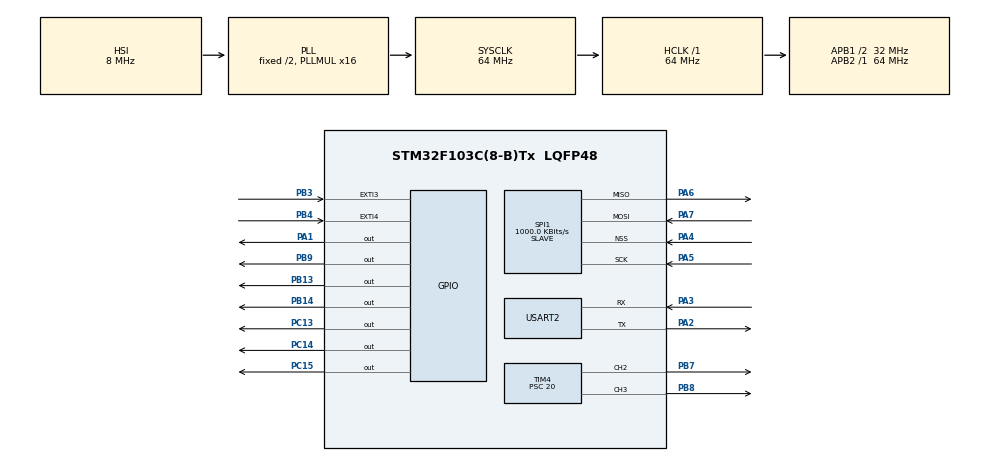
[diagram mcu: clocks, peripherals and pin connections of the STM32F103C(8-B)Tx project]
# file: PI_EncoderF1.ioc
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Dma.Request0=SPI1_RX
Dma.SPI1_RX.0.Direction=DMA_PERIPH_TO_MEMORY
Dma.SPI1_RX.0.Instance=DMA1_Channel2
Dma.SPI1_RX.0.MemDataAlignment=DMA_MDATAALIGN_BYTE
Dma.SPI1_RX.0.MemInc=DMA_MINC_ENABLE
Dma.SPI1_RX.0.Mode=DMA_CIRCULAR
Dma.SPI1_RX.0.PeriphDataAlignment=DMA_PDATAALIGN_BYTE
Dma.SPI1_RX.0.PeriphInc=DMA_PINC_DISABLE
Dma.SPI1_RX.0.Priority=DMA_PRIORITY_LOW
Mcu.Family=STM32F1
Mcu.Name=STM32F103C(8-B)Tx
Mcu.Package=LQFP48
NVIC.DMA1_Channel2_IRQn=true\:0\:0\:false\:false\:true\:false
NVIC.EXTI3_IRQn=true\:0\:0\:false\:false\:true\:true
NVIC.EXTI4_IRQn=true\:0\:0\:false\:false\:true\:true
NVIC.PriorityGroup=NVIC_PRIORITYGROUP_4
NVIC.SPI1_IRQn=true\:0\:0\:false\:false\:true\:true
NVIC.TIM2_IRQn=true\:0\:0\:false\:false\:true\:true
NVIC.TIM3_IRQn=true\:0\:0\:false\:false\:true\:true
PA1.Signal=GPIO_Output
PA13.Mode=Serial_Wire
PA13.Signal=SYS_JTMS-SWDIO
PA14.Mode=Serial_Wire
PA14.Signal=SYS_JTCK-SWCLK
PA2.Mode=Asynchronous
PA2.Signal=USART2_TX
PA3.Mode=Asynchronous
PA3.Signal=USART2_RX
PA4.Mode=NSS_Signal_Hard_Input
PA4.Signal=SPI1_NSS
PA5.Mode=Full_Duplex_Slave
PA5.Signal=SPI1_SCK
PA6.Mode=Full_Duplex_Slave
PA6.Signal=SPI1_MISO
PA7.Mode=Full_Duplex_Slave
PA7.Signal=SPI1_MOSI
PB13.Signal=GPIO_Output
PB14.Signal=GPIO_Output
PB3.Signal=GPXTI3
PB4.Signal=GPXTI4
PB7.GPIO_Speed=GPIO_SPEED_FREQ_HIGH
PB7.Signal=S_TIM4_CH2
PB8.GPIO_Speed=GPIO_SPEED_FREQ_HIGH
PB8.Signal=S_TIM4_CH3
PB9.Signal=GPIO_Output
PC13-TAMPER-RTC.Signal=GPIO_Output
PC14-OSC32_IN.Signal=GPIO_Output
PC15-OSC32_OUT.Signal=GPIO_Output
ProjectManager.HeapSize=0x200
ProjectManager.StackSize=0x400
ProjectManager.TargetToolchain=MDK-ARM V5
RCC.AHBFreq_Value=64000000
RCC.APB1CLKDivider=RCC_HCLK_DIV2
RCC.APB1Freq_Value=32000000
RCC.APB1TimFreq_Value=64000000
RCC.APB2Freq_Value=64000000
RCC.APB2TimFreq_Value=64000000
RCC.HCLKFreq_Value=64000000
RCC.PLLMUL=RCC_PLL_MUL16
RCC.SYSCLKFreq_VALUE=64000000
RCC.SYSCLKSource=RCC_SYSCLKSOURCE_PLLCLK
RCC.USBFreq_Value=64000000
SH.S_TIM4_CH2.0=TIM4_CH2,PWM Generation2 CH2
SH.S_TIM4_CH3.0=TIM4_CH3,PWM Generation3 CH3
SPI1.BaudRatePrescaler=SPI_BAUDRATEPRESCALER_64
SPI1.CalculateBaudRate=1000.0 KBits/s
SPI1.Direction=SPI_DIRECTION_2LINES
SPI1.Mode=SPI_MODE_SLAVE
SPI1.VirtualNSS=VM_NSSHARD
SPI1.VirtualType=VM_SLAVE
TIM2.Period=999
TIM2.Prescaler=6399
TIM3.Period=999
TIM3.Prescaler=6399
TIM4.Channel-PWM\ Generation2\ CH2=TIM_CHANNEL_2
TIM4.Channel-PWM\ Generation3\ CH3=TIM_CHANNEL_3
TIM4.Period=399
TIM4.Prescaler=20
USART2.VirtualMode=VM_ASYNC
VP_TIM2_VS_ClockSourceINT.Mode=Internal
VP_TIM3_VS_ClockSourceINT.Mode=Internal
VP_TIM4_VS_ClockSourceINT.Mode=Internal
board=custom

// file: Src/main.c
/* USER CODE BEGIN Header */
/**
  ******************************************************************************
  * @file           : main.c
  * @brief          : Main program body
  ******************************************************************************
  ** This notice applies to any and all portions of this file
  * that are not between comment pairs USER CODE BEGIN and
  * USER CODE END. Other portions of this file, whether
  * inserted by the user or by software development tools
  * are owned by their respective copyright owners.
  *
  * COPYRIGHT(c) 2019 STMicroelectronics
  *
  * Redistribution and use in source and binary forms, with or without modification,
  * are permitted provided that the following conditions are met:
  *   1. Redistributions of source code must retain the above copyright notice,
  *      this list of conditions and the following disclaimer.
  *   2. Redistributions in binary form must reproduce the above copyright notice,
  *      this list of conditions and the following disclaimer in the documentation
  *      and/or other materials provided with the distribution.
  *   3. Neither the name of STMicroelectronics nor the names of its contributors
  *      may be used to endorse or promote products derived from this software
  *      without specific prior written permission.
  *
  * THIS SOFTWARE IS PROVIDED BY THE COPYRIGHT HOLDERS AND CONTRIBUTORS "AS IS"
  * AND ANY EXPRESS OR IMPLIED WARRANTIES, INCLUDING, BUT NOT LIMITED TO, THE
  * IMPLIED WARRANTIES OF MERCHANTABILITY AND FITNESS FOR A PARTICULAR PURPOSE ARE
  * DISCLAIMED. IN NO EVENT SHALL THE COPYRIGHT HOLDER OR CONTRIBUTORS BE LIABLE
  * FOR ANY DIRECT, INDIRECT, INCIDENTAL, SPECIAL, EXEMPLARY, OR CONSEQUENTIAL
  * DAMAGES (INCLUDING, BUT NOT LIMITED TO, PROCUREMENT OF SUBSTITUTE GOODS OR
  * SERVICES; LOSS OF USE, DATA, OR PROFITS; OR BUSINESS INTERRUPTION) HOWEVER
  * CAUSED AND ON ANY THEORY OF LIABILITY, WHETHER IN CONTRACT, STRICT LIABILITY,
  * OR TORT (INCLUDING NEGLIGENCE OR OTHERWISE) ARISING IN ANY WAY OUT OF THE USE
  * OF THIS SOFTWARE, EVEN IF ADVISED OF THE POSSIBILITY OF SUCH DAMAGE.
  *
  ******************************************************************************
  */
/* USER CODE END Header */

#include "main.h"

/* USER CODE BEGIN Includes */
#include <math.h>
#include <stdbool.h>
/* USER CODE END Includes */

SPI_HandleTypeDef hspi1;
DMA_HandleTypeDef hdma_spi1_rx;

TIM_HandleTypeDef htim2;
TIM_HandleTypeDef htim3;
TIM_HandleTypeDef htim4;

UART_HandleTypeDef huart2;

/* USER CODE BEGIN PV */
static volatile bool flagTimeout=0;
uint16_t TIM_Period = 399; //This values may need to be recalculated = (timer_tick_freq/PWM_freq)-1, with timer_tick_freq = timer_default_freq / (pre_scaler+1)
uint32_t Pulse_LeftMotor=0, Pulse_RightMotor=0; 	//Variable to count Encoder Left n Right
uint32_t NotReset_PulseLeft =0, NotReset_PulseRight=0;
float Speed_LeftMotor=0, Speed_RightMotor=0; 	//Variable from 0-100 to control duty cycle
float Ke=3.5,Kde=0.5,Kout=50;													//Parameter
float CurrentX=0, CurrentY=0, CurrentPhi=0, PrevPhi=0;//Current position of the vehicle
float gocLai;
float PrevError=0, CurrErr=0;
float dt=0.1f; 																		//Control Period
float KhoangCach2Banh = 0.6f; //Khoang cach giua 2 banh xe
uint8_t tim2Indicator=0; //Check if timer2 works
float distance;

//SPI
uint8_t receive_data_1[8];
uint8_t send_data[8];
uint8_t tim3Indicator = 0;

uint8_t Tx[10]; //UART Transmit buffer
float SendX,SendY;

float EuclidThresh=0.3f;

//Variable for going to different Destination
//float DestXList[]={	1000.0f,	10.0f	,0.0f	,0.0f,	10.0f	,10.0f	,0.0f};
//float DestYList[]={	0.0f	,	4.0f	,4.0f	,8.0f,	8.0f	,12.0f	,12.0f};
//float DestXList[]={	20.0f,	20.0f	,0.0f	,0.0f,	18.0f	,18.0f	,0.0f};
//float DestYList[]={	0.0f	,	4.0f	,4.0f	,12.0f,	12.0f	,16.0f	,16.0f};
float DestXList[]={	20.0f,	20.0f	,0.0f	};
float DestYList[]={	0.0f	,	4.0f	,4.0f	};
int countDestList=0;
float DestX,DestY;

/* USER CODE END PV */

void SystemClock_Config(void);
static void MX_GPIO_Init(void);
static void MX_DMA_Init(void);
static void MX_USART2_UART_Init(void);
static void MX_TIM2_Init(void);
static void MX_TIM4_Init(void);
static void MX_SPI1_Init(void);
static void MX_TIM3_Init(void);
/* USER CODE BEGIN PFP */
//Ham truyen SPI
void Send_2Float(){
	unsigned char *chptr;

	chptr=(unsigned char *)&gocLai;
	send_data[0]=(*chptr++); 	//LSB
	send_data[1]=(*chptr++);
	send_data[2]=(*chptr++);
	send_data[3]=(*chptr);		//MSB

	chptr=(unsigned char *)&CurrentPhi;
	send_data[4]=(*chptr++);	//LSB
	send_data[5]=(*chptr++);
	send_data[6]=(*chptr++);
	send_data[7]=(*chptr);		//MSB

	HAL_SPI_Transmit_IT(&hspi1,&send_data[0],8);
}
//Ham truyen UART
void SendPos(){
	/*Send total 10Bytes include 2 end bytes 0x0D & 0x0A
	Send CurrentX,CurrentY in bytes
	*/
	unsigned char *chptr;
	SendX = (float)CurrentX;
	chptr = (unsigned char *)&SendX;

	Tx[0]=(*chptr++);
	Tx[1]=(*chptr++);
	Tx[2]=(*chptr++);
	Tx[3]=(*chptr);

	SendY =(float) CurrentY;
	chptr = (unsigned char *)&SendY;

	Tx[4]=(*chptr++);
	Tx[5]=(*chptr++);
	Tx[6]=(*chptr++);
	Tx[7]=(*chptr);

	Tx[8]=0x0D;
	Tx[9]=0x0A;

	HAL_UART_Transmit(&huart2,Tx,10,8000);
}
//Ham tinh toan
float EuclidDistance(float x1,float y1,float x2, float y2){
	return sqrt((x1-x2)*(x1-x2)+(y1-y2)*(y1-y2));
}
//Ham xuat % dong co
void SetPWM_withDutyCycle_withStop(TIM_HandleTypeDef *htim, uint32_t Channel, int dutyCycle, int STOP_CODE){

	dutyCycle=(dutyCycle > 100 ) ? 100 : dutyCycle;
	dutyCycle=(dutyCycle < 0)? 0: dutyCycle;

	/*This function allow to Write PWM in duty cycle with timer and channel parameters*/
	int32_t pulse_length = TIM_Period*dutyCycle/100;
	__HAL_TIM_SET_COMPARE(htim, Channel, pulse_length*(1-STOP_CODE));

};

void SetPWM_withDutyCycle(TIM_HandleTypeDef *htim, uint32_t Channel, int dutyCycle){

	dutyCycle=(dutyCycle > 100 ) ? 100 : dutyCycle;
	dutyCycle=(dutyCycle < 0)? 0: dutyCycle;

	/*This function allow to Write PWM in duty cycle with timer and channel parameters*/
	int32_t pulse_length = TIM_Period*dutyCycle/100;
	__HAL_TIM_SET_COMPARE(htim, Channel, pulse_length);
};

//Fuzzy functions
double mftrap(double x,double L,double C1,double C2,double R){
	double y;
	if (x<L)
		y=0;
	else if (x<C1)
		y=(x-L)/(C1-L);
	else if (x<C2)
		y=1;
	else if (x<R)
		y=(R-x)/(R-C2);
	else
		y=0;
	return y;}
int maxArray(double a[],int n) {
  int i, max;

  max = a[0];

  for (i = 1; i <n; i++) {
    if (a[i] > max) {
       max = a[i];
       }

  }

  return max;
}
double max(double num1,double num2){
	return (num1 > num2 ) ? num1 : num2;
}
double Defuzzication_R(double e, double de){

	//Return e and de in range [-1 1]
	e=(e>1)?1:e;
	e=(e<-1)?-1:e;
	de=(de>1)?1:de;
	de=(de<-1)?-1:de;

	double e_NE,e_ZE,e_PO,de_NE,de_ZE,de_PO;

	e_NE=mftrap(e,-1.1,-1,-0.1,0);
	e_ZE=mftrap(e,-0.1,0,0,0.1);

	e_PO=mftrap(e,0,0.1,1,1.1);

	de_NE=mftrap(de,-1.1,-1,-1,0);
	de_ZE=mftrap(de,-1,0,0,1);
	de_PO=mftrap(de,0,1,1,1.1);

	double	dR_NB=-1;
	double	dR_NS=-0.4;
	double	dR_ZE=0;
	double	dR_PS=0.8;
	double	dR_PB=1;

	double	beta1=e_NE*de_NE;   //R=NB
	double	beta2=e_NE*de_ZE;   //R=NS
	double	beta3=e_NE*de_PO;   //R=ZE
	double	beta4=e_ZE*de_NE;   //R=NS
	double	beta5=e_ZE*de_ZE;   //R=ZE ->PS
	double	beta6=e_ZE*de_PO;   //R=PS
	double	beta7=e_PO*de_NE;   //R=ZE
	double	beta8=e_PO*de_ZE;   //R=PS
	double	beta9=e_PO*de_PO;   //R=PB
	//Elements of each array
  double NSArray[]={beta2,beta4};
	double ZEArray[]={beta3,beta7};
	double PSArray[]={beta6,beta8,beta5};

	double beta_NB=beta1;
	double beta_NS=max(beta2,beta4);
	double beta_ZE=max(beta3,beta7);
	double beta_PS=max(beta6,max(beta8,beta5));
	double beta_PB=beta9;

	double sumBeta=beta_NB+beta_NS+beta_ZE+beta_PS+beta_PB;
	double dR=(dR_NB*beta_NB+dR_NS*beta_NS+dR_ZE*beta_ZE+dR_PS*beta_PS+dR_PB*beta_PB)/sumBeta;

	return dR;
}
double Defuzzication_L(double e, double de){
		e=(e>1)?1:e;
	e=(e<-1)?-1:e;
	de=(de>1)?1:de;
	de=(de<-1)?-1:de;

	double e_NE,e_ZE,e_PO,de_NE,de_ZE,de_PO;

	e_NE=mftrap(e,-1.1,-1,-0.1,0);
	e_ZE=mftrap(e,-0.1,0,0,0.1);

	e_PO=mftrap(e,0,0.1,1,1.1);

	de_NE=mftrap(de,-1.1,-1,-1,0);
	de_ZE=mftrap(de,-1,0,0,1);
	de_PO=mftrap(de,0,1,1,1.1);

	double	dR_NB=-1;
	double	dR_NS=-0.4;
	double	dR_ZE=0;
	double	dR_PS=0.8;
	double	dR_PB=1;

	double	beta1=e_NE*de_NE;   //R=PB
	double	beta2=e_NE*de_ZE;   //R=PS
	double	beta3=e_NE*de_PO;   //R=ZE
	double	beta4=e_ZE*de_NE;   //R=PS
	double	beta5=e_ZE*de_ZE;   //R=ZE =>PS
	double	beta6=e_ZE*de_PO;   //R=NS
	double	beta7=e_PO*de_NE;   //R=ZE
	double	beta8=e_PO*de_ZE;   //R=NS
	double	beta9=e_PO*de_PO;   //R=NB
	//Elements of each array
  double NSArray[]={beta6,beta8};
	double ZEArray[]={beta3,beta7};
	double PSArray[]={beta2,beta4,beta5};

	double beta_NB=beta9;
	double beta_NS=max(beta6,beta8);
	double beta_ZE=max(beta3,beta7);
	double beta_PS=max(beta2,max(beta5,beta4));
	double beta_PB=beta1;

	double sumBeta=beta_NB+beta_NS+beta_ZE+beta_PS+beta_PB;
	double dL=(dR_NB*beta_NB+dR_NS*beta_NS+dR_ZE*beta_ZE+dR_PS*beta_PS+dR_PB*beta_PB)/sumBeta;

	return dL;
}
//Control Function
double GetNewGocLai(float KhoangNhinTruoc,float xDest,float yDest,float xCurr, float yCurr,float phiCurr){
	float l = KhoangNhinTruoc;
	float xg=0,yg=0; //forhead point

	//Case 1: xDest != xCurr, we calculate (xg,yg), which is the forehead point
	if(xDest!=xCurr){
		float m =(yDest-yCurr)/(xDest-xCurr);
		float c =(yCurr*xDest-yDest*xCurr)/(xDest-xCurr);

		float A= 1+m*m;
		float B= -2*xCurr+2*m*c-2*m*yCurr;
		float C= xCurr*xCurr+(c-yCurr)*(c-yCurr)-l*l;

		if(xDest < xCurr){
			xg = (-B-sqrt(B*B-4*A*C))/(2*A);
			yg = m*xg +c;
		}else{
			xg = (-B+sqrt(B*B-4*A*C))/(2*A);
			yg = m*xg +c;
		}
	}

	//Case 2: xDest = xCurr, we calculate (xg,yg), which is the forehead point
	if(xDest == xCurr){
		if(yDest < yCurr){
			xg = xDest;
			yg = yCurr-l;
		}else if(yDest > yCurr){
			xg = xDest;
			yg = yCurr+l;
		}
	}

	//Now we have (xg,yg), scale it into the vehicle coordinate
	float xG = xg - xCurr;
	float yG = yg - yCurr;

	float x = xG*sin(phiCurr)-yG*cos(phiCurr);
	float y = xG*cos(phiCurr)+yG*sin(phiCurr);

	//Now we have (x,y), finally let's calculate GocLai
	float alpha = atan(x/y);
	return phiCurr-alpha;
}
double GetError(float GocLai,float CurrentPhi){
	return GocLai-CurrentPhi;
}
double GetDerivativeError(float oldErr,float newErr){
	return (newErr-oldErr)/dt;
}

void Fuzzy_ControlMotor(float e, float de){
	float eFuzzy = Ke*e;
	float deFuzzy =Kde*de;

	double aRight = Defuzzication_R(Ke*eFuzzy,Kde*deFuzzy);
	double aLeft 	= Defuzzication_L(Ke*eFuzzy,Kde*deFuzzy);

	Speed_RightMotor+=Kout*aRight*dt;
	Speed_LeftMotor+=Kout*aLeft*dt;

	Speed_LeftMotor=(Speed_LeftMotor>100)?100:Speed_LeftMotor;
	Speed_LeftMotor=(Speed_LeftMotor<0)?0:Speed_LeftMotor;

	Speed_RightMotor=(Speed_RightMotor>100)?100:Speed_RightMotor;
	Speed_RightMotor=(Speed_RightMotor<0)?0:Speed_RightMotor;

	distance=EuclidDistance(CurrentX,CurrentY,DestX,DestY);

	//STOP CODE RUN-Decide wehther to move or not
	int STOPCODE=(distance>EuclidThresh)?0:1;
	SetPWM_withDutyCycle_withStop(&htim4,TIM_CHANNEL_2,(int)Speed_LeftMotor,STOPCODE); //TIM_CHANNEL_2 = PB7 = Left Motor
	SetPWM_withDutyCycle_withStop(&htim4,TIM_CHANNEL_3,(int)Speed_RightMotor,STOPCODE); //TIM_CHANNEL_3 = PB8 = Right Motor

	//WITHOUT STOP CODE
//	SetPWM_withDutyCycle(&htim4,TIM_CHANNEL_2,(int)Speed_LeftMotor); //TIM_CHANNEL_2 = PB7 = Left Motor
//	SetPWM_withDutyCycle(&htim4,TIM_CHANNEL_3,(int)Speed_RightMotor); //TIM_CHANNEL_3 = PB8 = Right Motor
}
float Encoder2Distance(int pulse){
	// 1 vong dong co = 350 xung
	// ban kinh truc dong co R = 7 mm
	float hesokinhnghiem=1.5;
	return (float)pulse*2*3.14f*7*hesokinhnghiem/(350*1000);
}
void CalculateNewPosition(float RightDistance, float LeftDistance){

	CurrentX+=(float)((RightDistance+LeftDistance)*cos(PrevPhi)/2);
	CurrentY+=(float)((RightDistance+LeftDistance)*sin(PrevPhi)/2);
	CurrentPhi+=(RightDistance-LeftDistance)/KhoangCach2Banh;

	//Reset Encoder
	Pulse_LeftMotor =0;
	Pulse_RightMotor=0;
}
void UpdateParams(float Error,float Phi){
	PrevError=Error;
	PrevPhi=Phi;
}

//Turn Around Control Functions
void SpinRight(){
	/*Function for right spin*/
	SetPWM_withDutyCycle(&htim4,TIM_CHANNEL_2,60);//TIM_CHANNEL_2 = PB7 = Left Motor
	SetPWM_withDutyCycle(&htim4,TIM_CHANNEL_3,30);//TIM_CHANNEL_3 = PB8 = Right Motor
}
void SpinLeft(){
	/*Function for left spin*/
	SetPWM_withDutyCycle(&htim4,TIM_CHANNEL_2,30);//TIM_CHANNEL_2 = PB7 = Left Motor
	SetPWM_withDutyCycle(&htim4,TIM_CHANNEL_3,60);//TIM_CHANNEL_3 = PB8 = Right Motor
}

void Fuzzy_TurnAround(float xDest,float yDest,float xCurr, float yCurr,float phiCurr,float AcceptAngle){
	/*Fuzzy control and turn around when angle became too big*/
	float xG = xDest - xCurr;
	float yG = yDest - yCurr;

	float x = xG*sin(phiCurr)-yG*cos(phiCurr);
	float y = xG*cos(phiCurr)+yG*sin(phiCurr);

	//Decide to spin or use Fuzzy Control
	if ((x>0)&&((y-tan(3.14/2-AcceptAngle))<0))
		SpinRight();
	else if ((x<0)&&((y+tan(3.14/2-AcceptAngle))<0))
		SpinLeft();
	else {
		//GetNewGocLai
		/*
		Params from DestX,DestY, CurrentX, Current Y, CurrentPhi
		return GocLai
		*/
		 gocLai=GetNewGocLai(0.6f, DestX,DestY,CurrentX,CurrentY,CurrentPhi);

		//Get current Error
		/*
		Params from GocLai and CurrentPhi
		Return Error
		*/
	  CurrErr = GetError(gocLai,CurrentPhi);

		//Get current Deriative Error
		/*
		Params from the new Error, and the PrevErr
		Return Derivative Error
		*/
		float dCurrErr = GetDerivativeError(PrevError,CurrErr);

		//Control Motors Fuzzy
		/*
		Params from the new Error and the new Derivative Error
		Control Motor Left n Right
		Reset Encoder Counters
		After this, Encoder will continued to be counted for the next dt(s) (in this case, dt = 0.1)
		*/
		Fuzzy_ControlMotor(CurrErr,dCurrErr);
	}
}

void PP_TurnAround(float KhoangNhinTruoc,float xDest,float yDest,float xCurr, float yCurr,float phiCurr,int vSumPP,float AcceptAngle){
	float l = KhoangNhinTruoc;
	float L=0.6; //Distance between 2 wheels
	float xg=0,yg=0; //forhead point

	//Case 1: xDest != xCurr, we calculate (xg,yg), which is the forehead point
	if(xDest!=xCurr){
		float m =(yDest-yCurr)/(xDest-xCurr);
		float c =(yCurr*xDest-yDest*xCurr)/(xDest-xCurr);

		float A= 1+m*m;
		float B= -2*xCurr+2*m*c-2*m*yCurr;
		float C= xCurr*xCurr+(c-yCurr)*(c-yCurr)-l*l;

		if(xDest < xCurr){
			xg = (-B-sqrt(B*B-4*A*C))/(2*A);
			yg = m*xg +c;
		}else{
			xg = (-B+sqrt(B*B-4*A*C))/(2*A);
			yg = m*xg +c;
		}
	}

	//Case 2: xDest = xCurr, we calculate (xg,yg), which is the forehead point
	if(xDest == xCurr){
		if(yDest < yCurr){
			xg = xDest;
			yg = yCurr-l;
		}else if(yDest > yCurr){
			xg = xDest;
			yg = yCurr+l;
		}
	}

	//Now we have (xg,yg), scale it into the vehicle coordinate
	float xG = xg - xCurr;
	float yG = yg - yCurr;

	float x = xG*sin(phiCurr)-yG*cos(phiCurr);
	float y = xG*cos(phiCurr)+yG*sin(phiCurr);

	//Decide to spin or use the PP Control
	if ((x>0)&&((y-tan(3.14/2-AcceptAngle))<0))
		SpinRight();
	else if ((x<0)&&((y+tan(3.14/2-AcceptAngle))<0))
		SpinLeft();
	else {/*Pure Pursuit Control*/
		/*From Theory, calculate vRight/vLeft ratio k*/
		float k=(l*l-L*x)/(l*l+L*x);

		/*Calculate 2 Wheel speed*/
		Speed_LeftMotor=vSumPP/(k+1);
		Speed_RightMotor=vSumPP-Speed_LeftMotor;

		/*Decide to move or not*/
		distance=EuclidDistance(CurrentX,CurrentY,DestX,DestY);

		int STOPCODE=(distance>EuclidThresh)?0:1;
		SetPWM_withDutyCycle_withStop(&htim4,TIM_CHANNEL_2,(int)Speed_LeftMotor,STOPCODE); //TIM_CHANNEL_2 = PB7 = Left Motor
		SetPWM_withDutyCycle_withStop(&htim4,TIM_CHANNEL_3,(int)Speed_RightMotor,STOPCODE); //TIM_CHANNEL_3 = PB8 = Right Motor
	}
}

/* USER CODE END PFP */

int main(void)
{

  /* MCU Configuration--------------------------------------------------------*/

  /* Reset of all peripherals, Initializes the Flash interface and the Systick. */
  HAL_Init();

  /* Configure the system clock */
  SystemClock_Config();

  /* Initialize all configured peripherals */
  MX_GPIO_Init();
  MX_DMA_Init();
  MX_USART2_UART_Init();
  MX_TIM2_Init();
  MX_TIM4_Init();
  MX_SPI1_Init();
  MX_TIM3_Init();
  /* USER CODE BEGIN 2 */

		//Start PWM
	HAL_TIM_PWM_Start(&htim4,TIM_CHANNEL_2);
	HAL_TIM_PWM_Start(&htim4,TIM_CHANNEL_3);

	//Set destination
	DestX=DestXList[0];
	DestY=DestYList[0];
	//Start Timer 2 3
  HAL_TIM_Base_Start_IT(&htim3);
	HAL_TIM_Base_Start_IT(&htim2);
	HAL_SPI_Receive_DMA(&hspi1,&receive_data_1[0],8);

	//Set GPIOC 13,14 to Vdd to Enable for the Right Driver,GPIOB 13,14 to Vdd to Enable for the Left Driver,GPIOB 9,GPIOC 15 and GPIOA 1 to GND
	HAL_GPIO_WritePin(GPIOC,GPIO_PIN_13,GPIO_PIN_SET);
	HAL_GPIO_WritePin(GPIOB,GPIO_PIN_13,GPIO_PIN_SET);
	HAL_GPIO_WritePin(GPIOB,GPIO_PIN_14,GPIO_PIN_SET);
	HAL_GPIO_WritePin(GPIOC,GPIO_PIN_14,GPIO_PIN_SET);
	HAL_GPIO_WritePin(GPIOB,GPIO_PIN_9,GPIO_PIN_RESET);
	HAL_GPIO_WritePin(GPIOA,GPIO_PIN_1,GPIO_PIN_RESET);
	HAL_GPIO_WritePin(GPIOC,GPIO_PIN_15,GPIO_PIN_RESET);

	//set first destination

  /* USER CODE END 2 */

  /* Infinite loop */
  while (1)
  {

  }
}

void SystemClock_Config(void)
{
  RCC_OscInitTypeDef RCC_OscInitStruct = {0};
  RCC_ClkInitTypeDef RCC_ClkInitStruct = {0};

  /**Initializes the CPU, AHB and APB busses clocks
  */
  RCC_OscInitStruct.OscillatorType = RCC_OSCILLATORTYPE_HSI;
  RCC_OscInitStruct.HSIState = RCC_HSI_ON;
  RCC_OscInitStruct.HSICalibrationValue = RCC_HSICALIBRATION_DEFAULT;
  RCC_OscInitStruct.PLL.PLLState = RCC_PLL_ON;
  RCC_OscInitStruct.PLL.PLLSource = RCC_PLLSOURCE_HSI_DIV2;
  RCC_OscInitStruct.PLL.PLLMUL = RCC_PLL_MUL16;
  if (HAL_RCC_OscConfig(&RCC_OscInitStruct) != HAL_OK)
  {
    Error_Handler();
  }
  /**Initializes the CPU, AHB and APB busses clocks
  */
  RCC_ClkInitStruct.ClockType = RCC_CLOCKTYPE_HCLK|RCC_CLOCKTYPE_SYSCLK
                              |RCC_CLOCKTYPE_PCLK1|RCC_CLOCKTYPE_PCLK2;
  RCC_ClkInitStruct.SYSCLKSource = RCC_SYSCLKSOURCE_PLLCLK;
  RCC_ClkInitStruct.AHBCLKDivider = RCC_SYSCLK_DIV1;
  RCC_ClkInitStruct.APB1CLKDivider = RCC_HCLK_DIV2;
  RCC_ClkInitStruct.APB2CLKDivider = RCC_HCLK_DIV1;

  if (HAL_RCC_ClockConfig(&RCC_ClkInitStruct, FLASH_LATENCY_2) != HAL_OK)
  {
    Error_Handler();
  }
}

static void MX_SPI1_Init(void)
{

  /* SPI1 parameter configuration*/
  hspi1.Instance = SPI1;
  hspi1.Init.Mode = SPI_MODE_SLAVE;
  hspi1.Init.Direction = SPI_DIRECTION_2LINES;
  hspi1.Init.DataSize = SPI_DATASIZE_8BIT;
  hspi1.Init.CLKPolarity = SPI_POLARITY_LOW;
  hspi1.Init.CLKPhase = SPI_PHASE_1EDGE;
  hspi1.Init.NSS = SPI_NSS_HARD_INPUT;
  hspi1.Init.BaudRatePrescaler = SPI_BAUDRATEPRESCALER_64;
  hspi1.Init.FirstBit = SPI_FIRSTBIT_MSB;
  hspi1.Init.TIMode = SPI_TIMODE_DISABLE;
  hspi1.Init.CRCCalculation = SPI_CRCCALCULATION_DISABLE;
  hspi1.Init.CRCPolynomial = 10;
  if (HAL_SPI_Init(&hspi1) != HAL_OK)
  {
    Error_Handler();
  }

}

static void MX_TIM2_Init(void)
{

  TIM_ClockConfigTypeDef sClockSourceConfig = {0};
  TIM_MasterConfigTypeDef sMasterConfig = {0};

  htim2.Instance = TIM2;
  htim2.Init.Prescaler = 6399;
  htim2.Init.CounterMode = TIM_COUNTERMODE_UP;
  htim2.Init.Period = 999;
  htim2.Init.ClockDivision = TIM_CLOCKDIVISION_DIV1;
  htim2.Init.AutoReloadPreload = TIM_AUTORELOAD_PRELOAD_DISABLE;
  if (HAL_TIM_Base_Init(&htim2) != HAL_OK)
  {
    Error_Handler();
  }
  sClockSourceConfig.ClockSource = TIM_CLOCKSOURCE_INTERNAL;
  if (HAL_TIM_ConfigClockSource(&htim2, &sClockSourceConfig) != HAL_OK)
  {
    Error_Handler();
  }
  sMasterConfig.MasterOutputTrigger = TIM_TRGO_RESET;
  sMasterConfig.MasterSlaveMode = TIM_MASTERSLAVEMODE_DISABLE;
  if (HAL_TIMEx_MasterConfigSynchronization(&htim2, &sMasterConfig) != HAL_OK)
  {
    Error_Handler();
  }

}

static void MX_TIM3_Init(void)
{

  TIM_ClockConfigTypeDef sClockSourceConfig = {0};
  TIM_MasterConfigTypeDef sMasterConfig = {0};

  htim3.Instance = TIM3;
  htim3.Init.Prescaler = 6399;
  htim3.Init.CounterMode = TIM_COUNTERMODE_UP;
  htim3.Init.Period = 999;
  htim3.Init.ClockDivision = TIM_CLOCKDIVISION_DIV1;
  htim3.Init.AutoReloadPreload = TIM_AUTORELOAD_PRELOAD_DISABLE;
  if (HAL_TIM_Base_Init(&htim3) != HAL_OK)
  {
    Error_Handler();
  }
  sClockSourceConfig.ClockSource = TIM_CLOCKSOURCE_INTERNAL;
  if (HAL_TIM_ConfigClockSource(&htim3, &sClockSourceConfig) != HAL_OK)
  {
    Error_Handler();
  }
  sMasterConfig.MasterOutputTrigger = TIM_TRGO_RESET;
  sMasterConfig.MasterSlaveMode = TIM_MASTERSLAVEMODE_DISABLE;
  if (HAL_TIMEx_MasterConfigSynchronization(&htim3, &sMasterConfig) != HAL_OK)
  {
    Error_Handler();
  }

}

static void MX_TIM4_Init(void)
{

  TIM_ClockConfigTypeDef sClockSourceConfig = {0};
  TIM_MasterConfigTypeDef sMasterConfig = {0};
  TIM_OC_InitTypeDef sConfigOC = {0};

  htim4.Instance = TIM4;
  htim4.Init.Prescaler = 20;
  htim4.Init.CounterMode = TIM_COUNTERMODE_UP;
  htim4.Init.Period = 399;
  htim4.Init.ClockDivision = TIM_CLOCKDIVISION_DIV1;
  htim4.Init.AutoReloadPreload = TIM_AUTORELOAD_PRELOAD_DISABLE;
  if (HAL_TIM_Base_Init(&htim4) != HAL_OK)
  {
    Error_Handler();
  }
  sClockSourceConfig.ClockSource = TIM_CLOCKSOURCE_INTERNAL;
  if (HAL_TIM_ConfigClockSource(&htim4, &sClockSourceConfig) != HAL_OK)
  {
    Error_Handler();
  }
  if (HAL_TIM_PWM_Init(&htim4) != HAL_OK)
  {
    Error_Handler();
  }
  sMasterConfig.MasterOutputTrigger = TIM_TRGO_RESET;
  sMasterConfig.MasterSlaveMode = TIM_MASTERSLAVEMODE_DISABLE;
  if (HAL_TIMEx_MasterConfigSynchronization(&htim4, &sMasterConfig) != HAL_OK)
  {
    Error_Handler();
  }
  sConfigOC.OCMode = TIM_OCMODE_PWM1;
  sConfigOC.Pulse = 0;
  sConfigOC.OCPolarity = TIM_OCPOLARITY_HIGH;
  sConfigOC.OCFastMode = TIM_OCFAST_DISABLE;
  if (HAL_TIM_PWM_ConfigChannel(&htim4, &sConfigOC, TIM_CHANNEL_2) != HAL_OK)
  {
    Error_Handler();
  }
  if (HAL_TIM_PWM_ConfigChannel(&htim4, &sConfigOC, TIM_CHANNEL_3) != HAL_OK)
  {
    Error_Handler();
  }
  HAL_TIM_MspPostInit(&htim4);

}

static void MX_USART2_UART_Init(void)
{

  huart2.Instance = USART2;
  huart2.Init.BaudRate = 115200;
  huart2.Init.WordLength = UART_WORDLENGTH_8B;
  huart2.Init.StopBits = UART_STOPBITS_1;
  huart2.Init.Parity = UART_PARITY_NONE;
  huart2.Init.Mode = UART_MODE_TX_RX;
  huart2.Init.HwFlowCtl = UART_HWCONTROL_NONE;
  huart2.Init.OverSampling = UART_OVERSAMPLING_16;
  if (HAL_UART_Init(&huart2) != HAL_OK)
  {
    Error_Handler();
  }

}

static void MX_DMA_Init(void)
{
  /* DMA controller clock enable */
  __HAL_RCC_DMA1_CLK_ENABLE();

  /* DMA interrupt init */
  /* DMA1_Channel2_IRQn interrupt configuration */
  HAL_NVIC_SetPriority(DMA1_Channel2_IRQn, 0, 0);
  HAL_NVIC_EnableIRQ(DMA1_Channel2_IRQn);

}

static void MX_GPIO_Init(void)
{
  GPIO_InitTypeDef GPIO_InitStruct = {0};

  /* GPIO Ports Clock Enable */
  __HAL_RCC_GPIOC_CLK_ENABLE();
  __HAL_RCC_GPIOA_CLK_ENABLE();
  __HAL_RCC_GPIOB_CLK_ENABLE();

  /*Configure GPIO pin Output Level */
  HAL_GPIO_WritePin(GPIOC, GPIO_PIN_13|GPIO_PIN_14|GPIO_PIN_15, GPIO_PIN_RESET);

  /*Configure GPIO pin Output Level */
  HAL_GPIO_WritePin(GPIOA, GPIO_PIN_1, GPIO_PIN_RESET);

  /*Configure GPIO pin Output Level */
  HAL_GPIO_WritePin(GPIOB, GPIO_PIN_13|GPIO_PIN_14|GPIO_PIN_9, GPIO_PIN_RESET);

  /*Configure GPIO pins : PC13 PC14 PC15 */
  GPIO_InitStruct.Pin = GPIO_PIN_13|GPIO_PIN_14|GPIO_PIN_15;
  GPIO_InitStruct.Mode = GPIO_MODE_OUTPUT_PP;
  GPIO_InitStruct.Pull = GPIO_NOPULL;
  GPIO_InitStruct.Speed = GPIO_SPEED_FREQ_LOW;
  HAL_GPIO_Init(GPIOC, &GPIO_InitStruct);

  /*Configure GPIO pin : PA1 */
  GPIO_InitStruct.Pin = GPIO_PIN_1;
  GPIO_InitStruct.Mode = GPIO_MODE_OUTPUT_PP;
  GPIO_InitStruct.Pull = GPIO_NOPULL;
  GPIO_InitStruct.Speed = GPIO_SPEED_FREQ_LOW;
  HAL_GPIO_Init(GPIOA, &GPIO_InitStruct);

  /*Configure GPIO pins : PB13 PB14 PB9 */
  GPIO_InitStruct.Pin = GPIO_PIN_13|GPIO_PIN_14|GPIO_PIN_9;
  GPIO_InitStruct.Mode = GPIO_MODE_OUTPUT_PP;
  GPIO_InitStruct.Pull = GPIO_NOPULL;
  GPIO_InitStruct.Speed = GPIO_SPEED_FREQ_LOW;
  HAL_GPIO_Init(GPIOB, &GPIO_InitStruct);

  /*Configure GPIO pins : PB3 PB4 */
  GPIO_InitStruct.Pin = GPIO_PIN_3|GPIO_PIN_4;
  GPIO_InitStruct.Mode = GPIO_MODE_IT_RISING;
  GPIO_InitStruct.Pull = GPIO_NOPULL;
  HAL_GPIO_Init(GPIOB, &GPIO_InitStruct);

  /* EXTI interrupt init*/
  HAL_NVIC_SetPriority(EXTI3_IRQn, 0, 0);
  HAL_NVIC_EnableIRQ(EXTI3_IRQn);

  HAL_NVIC_SetPriority(EXTI4_IRQn, 0, 0);
  HAL_NVIC_EnableIRQ(EXTI4_IRQn);

}

/* USER CODE BEGIN 4 */

//Timer 2 call back
void HAL_TIM_PeriodElapsedCallback(TIM_HandleTypeDef *htim){
	if(htim->Instance==htim2.Instance){
		//Some Indicator
		tim2Indicator ++;

		//Encoder2Distance
		/*
		Get
		*/
		float distanceR = Encoder2Distance(Pulse_RightMotor);
		float distanceL = Encoder2Distance(Pulse_LeftMotor);

		//Calculate new Position
		/*
		Params from Left and Right Distance, cope with CurrentX, CurrentY, PrevPhi
		Return CurrenX, CurrentY, CurrentPhi
		*/
		CalculateNewPosition(distanceR,distanceL);
		SendPos();

	//Update Paramss
		/*
		Params from Error and Phi
		update PrevErr, PrevPhi
		*/
		UpdateParams(CurrErr,CurrentPhi);

	//Tinh lai DestX, DestY
		/*
		Params from Current dest and current position
		*/
		distance=EuclidDistance(CurrentX,CurrentY,DestX,DestY);

		if (distance<EuclidThresh){
			countDestList++;
			DestX=(countDestList<=6)?DestXList[countDestList]:CurrentX;
			DestY=(countDestList<=6)?DestYList[countDestList]:CurrentY;
		}

		//GetNewDestImprove(DestX,DestY,CurrentX,CurrentY);

	//Control Motors - with turn around ability, accept angle = pi/4 rad = 0.785 rad = 45 degree
  	Fuzzy_TurnAround(DestX,DestY,CurrentX,CurrentY,CurrentPhi,1.047);

	 //PP_TurnAround(0.5f,DestX,DestY,CurrentX,CurrentY,CurrentPhi,150,0.52);
	}
}

/* USER CODE END 4 */

void Error_Handler(void)
{
}

/************************ (C) COPYRIGHT STMicroelectronics *****END OF FILE****/
